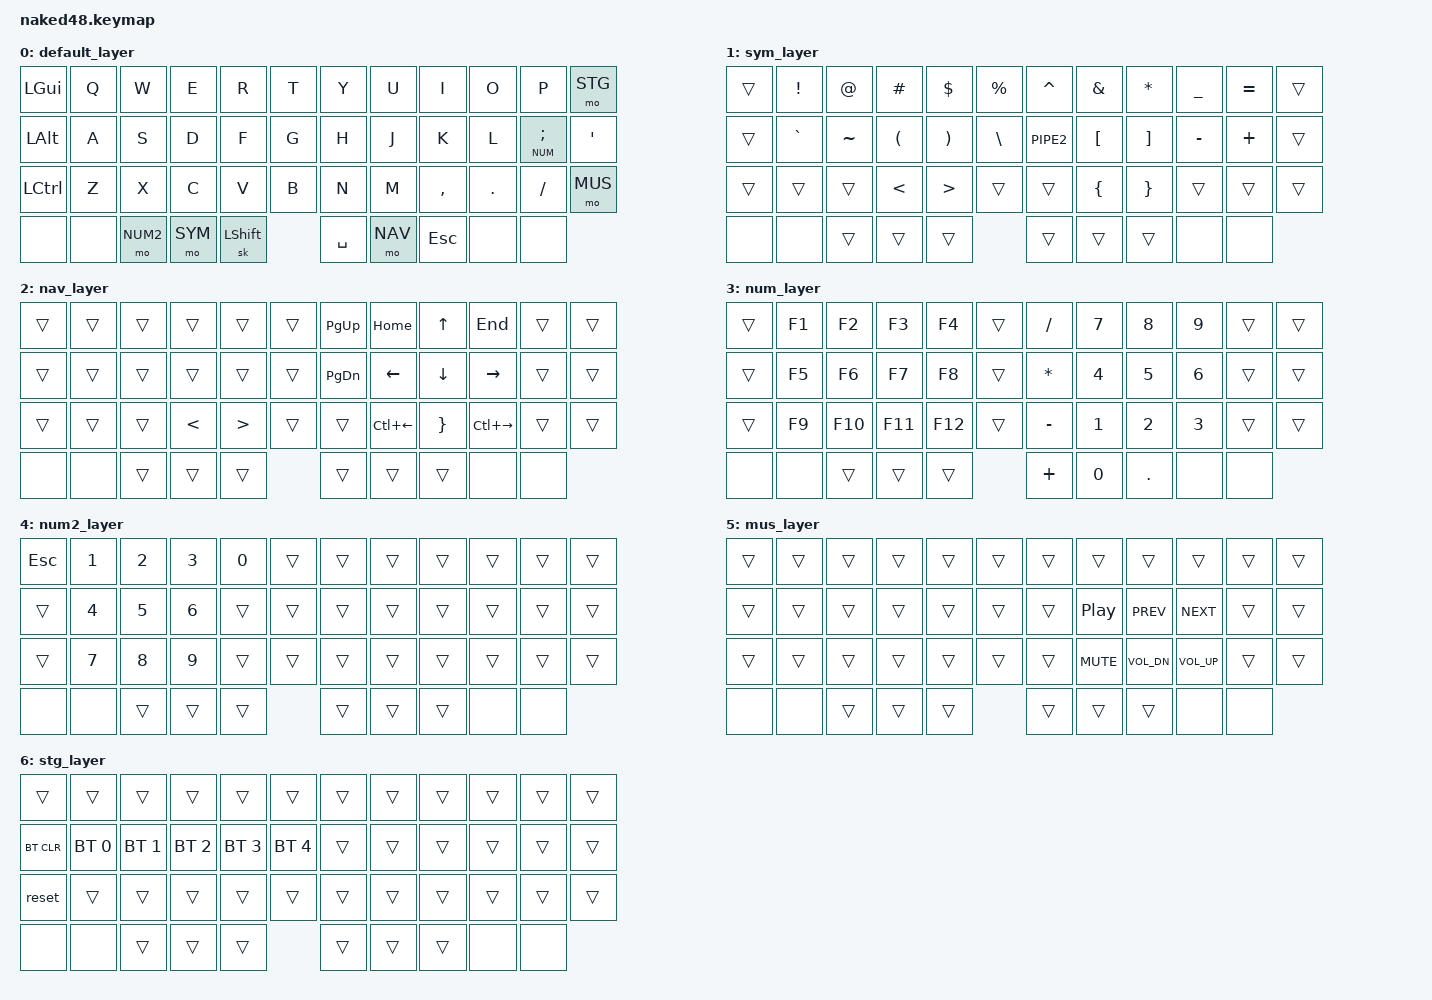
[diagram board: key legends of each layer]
#include <behaviors.dtsi>
#include <dt-bindings/zmk/keys.h>
#include <dt-bindings/zmk/rgb.h>

#define WIN 0
#define SYM 1
#define NAV 2
#define NUM 3
#define NUM2 4
#define MUS 5
#define STG 6

/ {
	behaviors {
		hm: homerow_mods {
			compatible = "zmk,behavior-hold-tap";
			label = "HOMEROW_MODS";
			#binding-cells = <2>;
			tapping-term-ms = <150>;
			quick_tap_ms = <0>;
			flavor = "tap-preferred";
			bindings = <&kp>, <&kp>;
		};
	};

	combos {
		compatible = "zmk,combos";
		combo_tab {
			timeout-ms = <50>;
			key-positions = <1 2>;
			bindings = <&kp TAB>;
		};
		combo_rent {
			timeout-ms = <50>;
			key-positions = <19 32>;
			bindings = <&kp ENTER>;
		};
		combo_rbackspace {
			timeout-ms = <50>;
			key-positions = <19 20>;
			bindings = <&kp BACKSPACE>;
		};
		combo_lent {
			timeout-ms = <50>;
			key-positions = <16 27>;
			bindings = <&kp ENTER>;
		};
		combo_lbackspace {
			timeout-ms = <50>;
			key-positions = <15 16>;
			bindings = <&kp BACKSPACE>;
		};
		combo_lspace {
			timeout-ms = <50>;
			key-positions = <3 16>;
			bindings = <&kp SPACE>;
		};
		combo_delete {
			timeout-ms = <50>;
			key-positions = <16 17>;
			bindings = <&kp DELETE>;
		};
		combo_esc {
			timeout-ms = <50>;
			key-positions = <5 17>;
			bindings = <&kp ESC>;
		};
		combo_left {
			timeout-ms = <50>;
			key-positions = <25 26>;
			bindings = <&kp LEFT>;
		};
		combo_down {
			timeout-ms = <50>;
			key-positions = <26 27>;
			bindings = <&kp DOWN>;
		};
		combo_right {
			timeout-ms = <50>;
			key-positions = <27 28>;
			bindings = <&kp RIGHT>;
		};
		combo_UP {
			timeout-ms = <50>;
			key-positions = <14 15>;
			bindings = <&kp UP>;
		};
	};
	
//	0	1	2	3	4	5		6	7	8	9	10	11
//	12	13	14	15	16	17		18	19	20	21	22	23
//	24	25	26	27	28	29		30	31	32	33	34	35
//		36	37	38	39	40		41	42	43	44	45

	keymap {
		compatible = "zmk,keymap";

		default_layer {
			bindings = <
	&kp LGUI	&kp Q	&kp W	&kp E	&kp R	&kp T		&kp Y	&kp U	&kp I	&kp O	&kp P		&mo STG
	&kp LALT	&kp A	&kp S	&kp D	&kp F	&kp G		&kp H	&kp J	&kp K	&kp L	&lt NUM SEMI	&kp SQT
	&kp LCTRL	&kp Z	&kp X	&kp C	&kp V	&kp B		&kp N	&kp M	&kp COMMA	&kp DOT	&kp FSLH		&mo MUS
		&none	&none	&mo NUM2	&mo SYM	&sk LSHIFT	&kp SPACE	&mo NAV	&kp ESC	&none	&none
			>;
		};
		sym_layer {
			bindings = <
	&trans	&kp EXCL	&kp AT	&kp HASH	&kp DLLR	&kp PRCNT		&kp CARET	&kp AMPS	&kp ASTRK	&kp UNDER	&kp EQUAL	&trans
	&trans	&kp GRAVE	&kp TILDE	&kp LPAR	&kp RPAR	&kp BSLH		&kp PIPE2	&kp LBKT	&kp RBKT	&kp MINUS	&kp PLUS	&trans
	&trans	&trans	&trans	&kp LT	&kp GT	&trans		&trans	&kp LBRC	&kp RBRC	&trans	&trans	&trans
		&none	&none	&trans	&trans	&trans		&trans	&trans	&trans	&none	&none	
			>;
		};
		nav_layer {
			bindings = <
	&trans	&trans	&trans	&trans	&trans	&trans		&kp PG_UP	&kp HOME		&kp UP	&kp END		&trans	&trans
	&trans	&trans	&trans	&trans	&trans	&trans		&kp PG_DN	&kp LEFT		&kp DOWN	&kp RIGHT		&trans	&trans
	&trans	&trans	&trans	&kp LT	&kp GT	&trans		&trans	&kp LC(LEFT)	&kp RBRC	&kp LC(RIGHT)	&trans	&trans
		&none	&none	&trans	&trans	&trans		&trans	&trans		&trans	&none		&none	
			>;
		};
		num_layer {
			bindings = <
	&trans	&kp F1	&kp F2	&kp F3	&kp F4	&trans		&kp FSLH	&kp N7	&kp N8	&kp N9	&trans	&trans
	&trans	&kp F5	&kp F6	&kp F7	&kp F8	&trans		&kp ASTRK	&kp N4	&kp N5	&kp N6	&trans	&trans
	&trans	&kp F9	&kp F10	&kp F11	&kp F12	&trans		&kp MINUS	&kp N1	&kp N2	&kp N3	&trans	&trans
		&none	&none	&trans	&trans	&trans		&kp PLUS	&kp N0	&kp DOT	&none	&none	
			>;
		};
		num2_layer {
			bindings = <
	&kp ESC	&kp N1	&kp N2	&kp N3	&kp N0	&trans		&trans	&trans	&trans	&trans	&trans	&trans
	&trans	&kp N4	&kp N5	&kp N6	&trans	&trans		&trans	&trans	&trans	&trans	&trans	&trans
	&trans	&kp N7	&kp N8	&kp N9	&trans	&trans		&trans	&trans	&trans	&trans	&trans	&trans
		&none	&none	&trans	&trans	&trans		&trans	&trans	&trans	&none	&none	
			>;
		};
		mus_layer {
			bindings = <
	&trans	&trans	&trans	&trans	&trans	&trans		&trans	&trans	&trans	&trans	&trans	&trans
	&trans	&trans	&trans	&trans	&trans	&trans		&trans	&kp	C_PP	&kp	C_PREV	&kp	C_NEXT	&trans	&trans
	&trans	&trans	&trans	&trans	&trans	&trans		&trans	&kp	K_MUTE	&kp	C_VOL_DN	&kp	C_VOL_UP	&trans	&trans
		&none	&none	&trans	&trans	&trans		&trans	&trans	&trans	&none	&none	
			>;
		};
		stg_layer {
			bindings = <
	&trans		&trans		&trans		&trans		&trans		&trans		&trans	&trans	&trans	&trans	&trans	&trans
	&bt BT_CLR	&bt BT_SEL 0	&bt BT_SEL 1	&bt BT_SEL 2	&bt BT_SEL 3	&bt BT_SEL 4	&trans	&trans	&trans	&trans	&trans	&trans
	&reset		&trans		&trans		&trans		&trans		&trans		&trans	&trans	&trans	&trans	&trans	&trans
			&none		&none		&trans		&trans		&trans		&trans	&trans	&trans	&none	&none	
			>;
		};
	};
};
